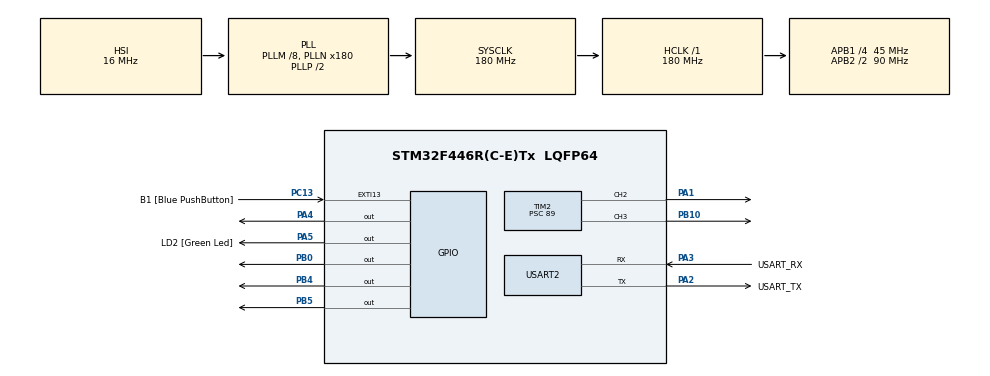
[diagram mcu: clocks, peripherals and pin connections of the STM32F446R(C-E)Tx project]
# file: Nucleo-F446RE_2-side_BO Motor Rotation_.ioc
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Mcu.Family=STM32F4
Mcu.Name=STM32F446R(C-E)Tx
Mcu.Package=LQFP64
NVIC.PriorityGroup=NVIC_PRIORITYGROUP_0
PA1.Signal=S_TIM2_CH2
PA13.GPIO_Label=TMS
PA13.Mode=Serial_Wire
PA13.Signal=SYS_JTMS-SWDIO
PA14.GPIO_Label=TCK
PA14.Mode=Serial_Wire
PA14.Signal=SYS_JTCK-SWCLK
PA2.GPIO_Label=USART_TX
PA2.Mode=Asynchronous
PA2.Signal=USART2_TX
PA3.GPIO_Label=USART_RX
PA3.Mode=Asynchronous
PA3.Signal=USART2_RX
PA4.Signal=GPIO_Output
PA5.GPIO_Label=LD2 [Green Led]
PA5.Signal=GPIO_Output
PB0.Signal=GPIO_Output
PB10.Signal=S_TIM2_CH3
PB3.GPIO_Label=SWO
PB3.Signal=SYS_JTDO-SWO
PB4.Signal=GPIO_Output
PB5.Signal=GPIO_Output
PC13.GPIO_Label=B1 [Blue PushButton]
PC13.GPIO_ModeDefaultEXTI=GPIO_MODE_IT_FALLING
PC13.Signal=GPXTI13
PC14-OSC32_IN.Mode=LSE-External-Oscillator
PC14-OSC32_IN.Signal=RCC_OSC32_IN
PC15-OSC32_OUT.Mode=LSE-External-Oscillator
PC15-OSC32_OUT.Signal=RCC_OSC32_OUT
PH0-OSC_IN.Mode=HSE-External-Oscillator
PH0-OSC_IN.Signal=RCC_OSC_IN
PH1-OSC_OUT.Mode=HSE-External-Oscillator
PH1-OSC_OUT.Signal=RCC_OSC_OUT
ProjectManager.HeapSize=0x200
ProjectManager.StackSize=0x400
ProjectManager.TargetToolchain=STM32CubeIDE
RCC.48MHZClocksFreq_Value=84000000
RCC.AHBFreq_Value=180000000
RCC.APB1CLKDivider=RCC_HCLK_DIV4
RCC.APB1Freq_Value=45000000
RCC.APB1TimFreq_Value=90000000
RCC.APB2CLKDivider=RCC_HCLK_DIV2
RCC.APB2Freq_Value=90000000
RCC.APB2TimFreq_Value=180000000
RCC.CortexFreq_Value=180000000
RCC.FLatency-AdvancedSettings=FLASH_LATENCY_5
RCC.HCLKFreq_Value=180000000
RCC.HSE_VALUE=8000000
RCC.HSI_VALUE=16000000
RCC.PLLM=8
RCC.PLLN=180
RCC.SYSCLKFreq_VALUE=180000000
RCC.SYSCLKSource=RCC_SYSCLKSOURCE_PLLCLK
RCC.USBFreq_Value=180000000
RCC.VCOOutputFreq_Value=360000000
SH.S_TIM2_CH2.0=TIM2_CH2,PWM Generation2 CH2
SH.S_TIM2_CH3.0=TIM2_CH3,PWM Generation3 CH3
TIM2.Channel-PWM\ Generation2\ CH2=TIM_CHANNEL_2
TIM2.Channel-PWM\ Generation3\ CH3=TIM_CHANNEL_3
TIM2.Period=1999
TIM2.Prescaler=89
USART2.VirtualMode=VM_ASYNC
VP_TIM2_VS_ClockSourceINT.Mode=Internal
board=NUCLEO-F446RE

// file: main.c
/* USER CODE BEGIN Header */
/**
  ******************************************************************************
  * @file           : main.c
  * @brief          : Main program body
  ******************************************************************************
  * @attention
  *
  * Copyright (c) 2026 STMicroelectronics.
  * All rights reserved.
  *
  * This software is licensed under terms that can be found in the LICENSE file
  * in the root directory of this software component.
  * If no LICENSE file comes with this software, it is provided AS-IS.
  *
  ******************************************************************************
  */
/* USER CODE END Header */
#include "main.h"
#include "tim.h"
#include "usart.h"
#include "gpio.h"

void SystemClock_Config(void);

int main(void)
{

  /* MCU Configuration--------------------------------------------------------*/

  /* Reset of all peripherals, Initializes the Flash interface and the Systick. */  HAL_Init();

  /* Configure the system clock */
  SystemClock_Config();

  /* Initialize all configured peripherals */
  MX_GPIO_Init();
  MX_TIM2_Init();
  MX_USART2_UART_Init();
  /* USER CODE BEGIN 2 */
  HAL_TIM_PWM_Start(&htim2, TIM_CHANNEL_3); //PB10 TIM2 CH3 Motor 1
  HAL_TIM_PWM_Start(&htim2, TIM_CHANNEL_2); //PA1 TIM2 CH2 Motor 2
  /* USER CODE END 2 */

  /* Infinite loop */
  /* USER CODE BEGIN WHILE */
  while (1)
  {

	  // Set the rotation direction backward Motor 1
	      HAL_GPIO_WritePin(GPIOB, GPIO_PIN_4, 0);
	      HAL_GPIO_WritePin(GPIOB, GPIO_PIN_5, 1);
	      // Set the speed slow Motor 1
	      __HAL_TIM_SET_COMPARE(&htim2,TIM_CHANNEL_3, 1000);
	      HAL_Delay(2000);
	      // Set the speed medium Motor 1
	      __HAL_TIM_SET_COMPARE(&htim2,TIM_CHANNEL_3, 1500);
	      HAL_Delay(2000);
	      // Set the speed high Motor 1
	      __HAL_TIM_SET_COMPARE(&htim2,TIM_CHANNEL_3, 2000);
	      HAL_Delay(2000);
	      // Stop the motor 1
	      HAL_GPIO_WritePin(GPIOB, GPIO_PIN_4, 0);
	      HAL_GPIO_WritePin(GPIOB, GPIO_PIN_5, 0);
	      HAL_Delay(2000);
	      // Set the rotation direction forward Motor 1
	      HAL_GPIO_WritePin(GPIOB, GPIO_PIN_4, 1);
	      HAL_GPIO_WritePin(GPIOB, GPIO_PIN_5, 0);
	      // Set the speed slow Motor 1
	      __HAL_TIM_SET_COMPARE(&htim2,TIM_CHANNEL_3, 1000);
	      HAL_Delay(2000);
	      // Set the speed medium Motor 1
	      __HAL_TIM_SET_COMPARE(&htim2,TIM_CHANNEL_3, 1500);
	      HAL_Delay(2000);
	      // Set the speed high Motor 1
	      __HAL_TIM_SET_COMPARE(&htim2,TIM_CHANNEL_3, 2000);
	      HAL_Delay(2000);
	      // Stop the motor 1
	      HAL_GPIO_WritePin(GPIOB, GPIO_PIN_4, 0);
	      HAL_GPIO_WritePin(GPIOB, GPIO_PIN_5, 0);
	      HAL_Delay(2000);

	      // Set the rotation direction backward Motor 2
	      HAL_GPIO_WritePin(GPIOA, GPIO_PIN_4, 0);
	      HAL_GPIO_WritePin(GPIOB, GPIO_PIN_0, 1);
	      // Set the speed slow Motor 2
	      __HAL_TIM_SET_COMPARE(&htim2,TIM_CHANNEL_2, 1000);
	      HAL_Delay(2000);
	      // Set the speed medium Motor 2
	      __HAL_TIM_SET_COMPARE(&htim2,TIM_CHANNEL_2, 1500);
	      HAL_Delay(2000);
	      // Set the speed high Motor 2
	      __HAL_TIM_SET_COMPARE(&htim2,TIM_CHANNEL_2, 2000);
	      HAL_Delay(2000);
	      // Stop the motor 2
	      HAL_GPIO_WritePin(GPIOA, GPIO_PIN_4, 0);
	      HAL_GPIO_WritePin(GPIOB, GPIO_PIN_0, 0);
	      HAL_Delay(2000);
	      // Set the rotation direction forward Motor 2
	      HAL_GPIO_WritePin(GPIOA, GPIO_PIN_4, 1);
	      HAL_GPIO_WritePin(GPIOB, GPIO_PIN_0, 0);
	      // Set the speed slow Motor 2
	      __HAL_TIM_SET_COMPARE(&htim2,TIM_CHANNEL_2, 1000);
	      HAL_Delay(2000);
	      // Set the speed medium Motor 2
	      __HAL_TIM_SET_COMPARE(&htim2,TIM_CHANNEL_2, 1500);
	      HAL_Delay(2000);
	      // Set the speed high Motor 2
	      __HAL_TIM_SET_COMPARE(&htim2,TIM_CHANNEL_2, 2000);
	      HAL_Delay(2000);
	      // Stop the motor 2
	      HAL_GPIO_WritePin(GPIOA, GPIO_PIN_4, 0);
	      HAL_GPIO_WritePin(GPIOB, GPIO_PIN_0, 0);
	      HAL_Delay(2000);

  }

    /* USER CODE END WHILE */

}

void SystemClock_Config(void)
{
  RCC_OscInitTypeDef RCC_OscInitStruct = {0};
  RCC_ClkInitTypeDef RCC_ClkInitStruct = {0};

  /** Configure the main internal regulator output voltage
  */
  __HAL_RCC_PWR_CLK_ENABLE();
  __HAL_PWR_VOLTAGESCALING_CONFIG(PWR_REGULATOR_VOLTAGE_SCALE1);

  /** Initializes the RCC Oscillators according to the specified parameters
  * in the RCC_OscInitTypeDef structure.
  */
  RCC_OscInitStruct.OscillatorType = RCC_OSCILLATORTYPE_HSI;
  RCC_OscInitStruct.HSIState = RCC_HSI_ON;
  RCC_OscInitStruct.HSICalibrationValue = RCC_HSICALIBRATION_DEFAULT;
  RCC_OscInitStruct.PLL.PLLState = RCC_PLL_ON;
  RCC_OscInitStruct.PLL.PLLSource = RCC_PLLSOURCE_HSI;
  RCC_OscInitStruct.PLL.PLLM = 8;
  RCC_OscInitStruct.PLL.PLLN = 180;
  RCC_OscInitStruct.PLL.PLLP = RCC_PLLP_DIV2;
  RCC_OscInitStruct.PLL.PLLQ = 2;
  RCC_OscInitStruct.PLL.PLLR = 2;
  if (HAL_RCC_OscConfig(&RCC_OscInitStruct) != HAL_OK)
  {
    Error_Handler();
  }

  /** Activate the Over-Drive mode
  */
  if (HAL_PWREx_EnableOverDrive() != HAL_OK)
  {
    Error_Handler();
  }

  /** Initializes the CPU, AHB and APB buses clocks
  */
  RCC_ClkInitStruct.ClockType = RCC_CLOCKTYPE_HCLK|RCC_CLOCKTYPE_SYSCLK
                              |RCC_CLOCKTYPE_PCLK1|RCC_CLOCKTYPE_PCLK2;
  RCC_ClkInitStruct.SYSCLKSource = RCC_SYSCLKSOURCE_PLLCLK;
  RCC_ClkInitStruct.AHBCLKDivider = RCC_SYSCLK_DIV1;
  RCC_ClkInitStruct.APB1CLKDivider = RCC_HCLK_DIV4;
  RCC_ClkInitStruct.APB2CLKDivider = RCC_HCLK_DIV2;

  if (HAL_RCC_ClockConfig(&RCC_ClkInitStruct, FLASH_LATENCY_5) != HAL_OK)
  {
    Error_Handler();
  }
}

void Error_Handler(void)
{
  __disable_irq();
  while (1)
  {
  }
}
